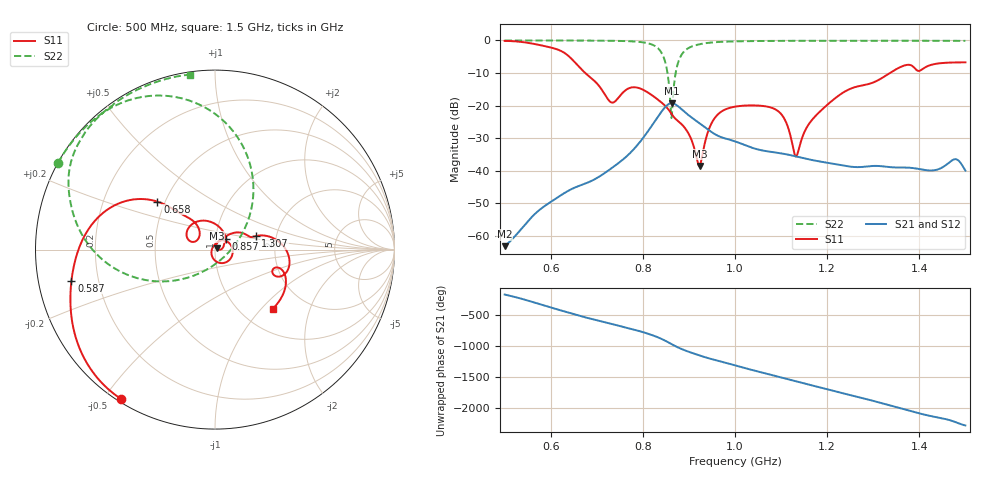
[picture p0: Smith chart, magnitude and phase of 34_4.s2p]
! TOUCHSTONE file generated by CST MICROWAVE STUDIO
! Date and time: Wed Oct 28 19:20:01 2020
! Project name: Scenario_1_Circular_Tissue_out_of_Line.cst
! Parameters = {dy1=226.253; L_HA=400; MT=2.54; Rad_Dielectric=30; Rad_Lower=7.3; Rad_Upper=30; a_HA=580; a_WG=246; b_HA=500; b_WG=121; c_HA=0; c_WG=187; d_feed=85; dx1=693; h_feed=15; h_lower=18; h_upper=40}
! Header version: 2018
! Port assignment regex: !\s*Touchstone port\s*([0-9]+)\s*=\s*(CST MWS port|CST DS port)\s*([0-9]+|Zmin|Zmax)\s*\(\"(.*)\"\)(\s*mode\s*([0-9]+))?.*
! Touchstone port assignment:
! Touchstone port 1 = CST MWS port 1 ("")
! Touchstone port 2 = CST MWS port 2 ("")
# GHz S DB R 50
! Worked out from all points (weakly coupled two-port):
!   1001 points, 500 MHz to 1.5 GHz, reference 50 ohm
!   highest |S21| = -19.28 dB at 863 MHz (marker M1); lowest = -63.2 dB at 500 MHz (marker M2)
!   lowest |S11| = -38.5 dB at 923 MHz (marker M3), VSWR 1.02, Z = 50.9 + j0.755 ohm
!   |S11| at or under -10 dB: 675 MHz to 1.336 GHz (661.1 MHz wide, 65.7 % of centre)
!   |S22| runs from -23.8 to 0.0 dB; largest |S21 - S12| = 4e-05
!   S11 on the Smith chart (normalised r, x): 500 MHz: 0.01, -0.55; 587 MHz: 0.10, -0.11; 658 MHz: 0.45, +0.29; 857 MHz: 1.12, +0.14; 1.307 GHz: 1.56, +0.25; 1.5 GHz: 1.38, -1.16
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0.5  -0.15 -122.0  -63.16 -178.1  -63.16 -178.1  -0.01 151.1
0.587  -1.74 -167.8  -50.82 2.6  -50.82 2.6  -0.02 145.1
0.658  -7.58 140.2  -44.84 -150.7  -44.84 -150.7  -0.04 139.3
0.667  -8.92 137.3  -44.36 -169.1  -44.36 -169.1  -0.04 138.4
0.731  -18.99 142.4  -39.33 72.0  -39.33 72.0  -0.10 130.9
0.78  -14.37 136.9  -33.44 -20.4  -33.44 -20.3  -0.31 121.1
0.834  -18.32 74.4  -23.18 -149.5  -23.18 -149.5  -2.56 88.8
0.848  -20.01 57.2  -20.54 162.7  -20.54 162.7  -6.38 64.7
0.857  -21.47 45.4  -19.47 127.2  -19.47 127.2  -14.01 34.7
0.863  -22.69 39.0  -19.28 102.7  -19.28 102.7  -22.89 -76.9
0.882  -25.44 23.7  -20.87 33.0  -20.87 33.0  -4.91 -169.4
0.923  -38.52 38.7  -25.40 -76.8  -25.40 -76.8  -1.18 158.7
0.953  -24.44 57.1  -28.48 -142.9  -28.48 -142.9  -0.59 149.6
1  -20.33 4.6  -30.98 123.9  -30.98 123.9  -0.29 140.8
1.093  -21.64 -65.6  -34.51 -57.1  -34.51 -57.1  -0.14 130.7
1.132  -35.64 160.7  -35.59 -132.6  -35.59 -132.6  -0.12 127.3
1.167  -24.42 59.9  -36.71 162.4  -36.71 162.4  -0.10 124.4
1.236  -15.89 36.7  -38.44 32.0  -38.44 31.9  -0.08 119.1
1.307  -12.47 18.4  -38.52 -100.8  -38.52 -100.8  -0.09 113.7
1.334  -10.18 13.6  -38.87 -154.1  -38.87 -154.1  -0.09 111.7
1.478  -6.76 -40.1  -36.45 -67.1  -36.47 -67.3  -0.12 100.1
1.5  -6.73 -45.9  -39.97 -121.4  -39.96 -121.4  -0.13 98.2
